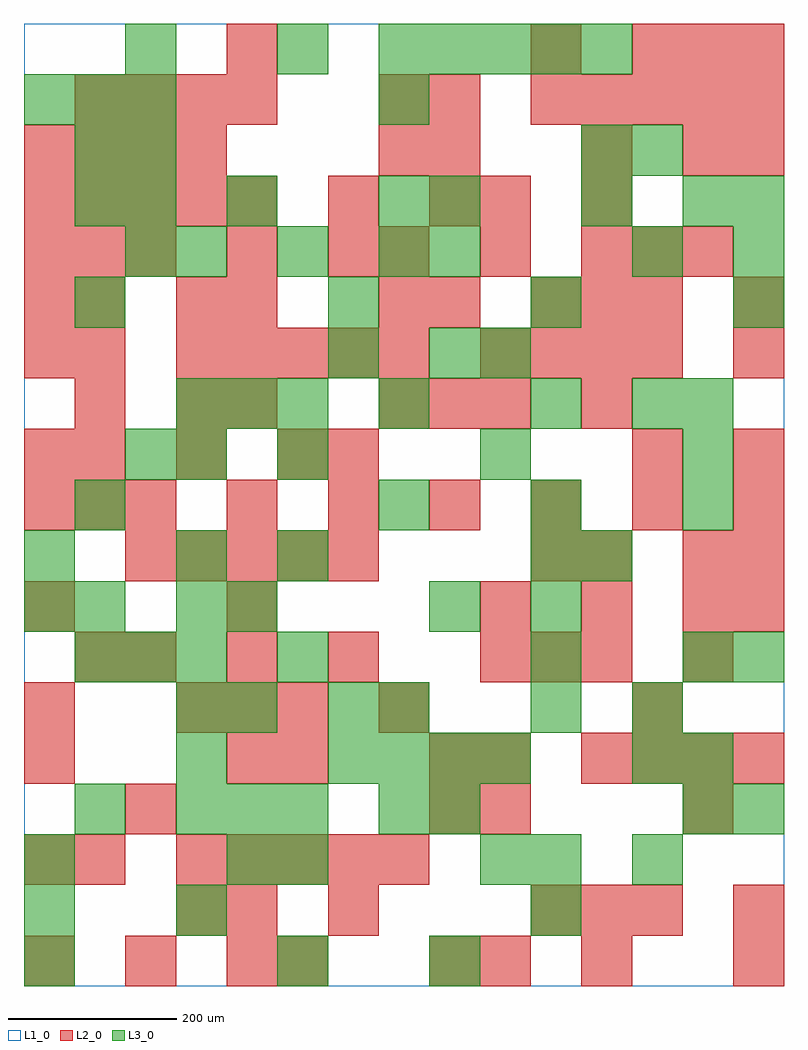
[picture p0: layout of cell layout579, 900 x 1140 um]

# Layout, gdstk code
import gdstk
lib = gdstk.Library(unit=1e-6, precision=1e-09)
def R(c, l, rs):  # rectangles x0, y0, x1, y1
    for r in rs: c.add(gdstk.rectangle(r[:2], r[2:], *l))
def A(c, l, x, y, w, h, nx, ny, dx, dy):  # array of equal rectangles
    R(c, l, [(x+i*dx, y+j*dy, x+i*dx+w, y+j*dy+h) for i in range(nx) for j in range(ny)])
L1_0 = (1, 0)
L2_0 = (2, 0)
L3_0 = (3, 0)

layout579 = lib.new_cell('layout579')
R(layout579, L1_0, [(0,0,900,1140)])
A(layout579, L2_0, 0, 0, 60, 60, 3, 1, 120, 0)
A(layout579, L2_0, 240, 60, 60, 60, 1, 3, 0, 180)
A(layout579, L2_0, 600, 60, 60, 60, 3, 2, 60, 720)
A(layout579, L2_0, 180, 120, 60, 60, 5, 2, 60, 600)
A(layout579, L2_0, 660, 240, 60, 60, 4, 1, 60, 0)
A(layout579, L2_0, 180, 300, 60, 60, 3, 1, 60, 0)
A(layout579, L2_0, 120, 360, 60, 60, 3, 1, 120, 0)
A(layout579, L2_0, 540, 360, 60, 60, 3, 1, 60, 0)
A(layout579, L2_0, 540, 420, 60, 60, 3, 1, 120, 0)
A(layout579, L2_0, 120, 480, 60, 60, 5, 1, 60, 0)
A(layout579, L2_0, 840, 480, 60, 60, 1, 3, 0, 120)
A(layout579, L2_0, 0, 540, 60, 60, 3, 2, 60, 300)
A(layout579, L2_0, 240, 540, 60, 60, 6, 1, 120, 0)
A(layout579, L2_0, 60, 600, 60, 60, 3, 1, 120, 0)
A(layout579, L2_0, 60, 660, 60, 60, 1, 3, 0, 60)
A(layout579, L2_0, 420, 660, 60, 60, 3, 1, 60, 0)
A(layout579, L2_0, 540, 720, 60, 60, 4, 1, 60, 0)
A(layout579, L2_0, 420, 840, 60, 60, 3, 1, 120, 0)
A(layout579, L2_0, 0, 900, 60, 60, 5, 1, 60, 0)
A(layout579, L2_0, 480, 900, 60, 60, 1, 3, 0, 60)
A(layout579, L2_0, 0, 960, 60, 60, 4, 1, 60, 0)
A(layout579, L2_0, 60, 1020, 60, 60, 4, 1, 60, 0)
A(layout579, L2_0, 600, 1020, 60, 60, 5, 1, 60, 0)
A(layout579, L2_0, 720, 1080, 60, 60, 3, 1, 60, 0)
R(layout579, L2_0, [(300,0,360,60), (480,0,540,60), (540,0,600,60), (660,0,720,60), (840,0,900,60), (180,60,240,120), (360,60,420,120), (840,60,900,120), (0,120,60,180), (60,120,120,180), (120,180,180,240), (480,180,540,240), (540,180,600,240), (780,180,840,240), (0,240,60,300), (300,240,360,300), (480,240,540,300), (540,240,600,300), (0,300,60,360), (420,300,480,360), (720,300,780,360), (60,360,120,420), (780,360,840,420), (0,420,60,480), (840,420,900,480), (600,480,660,540), (660,480,720,540), (780,480,840,540), (0,600,60,660), (360,600,420,660), (720,600,780,660), (180,660,240,720), (240,660,300,720), (660,660,720,720), (0,720,60,780), (0,780,60,840), (180,780,240,840), (240,780,300,840), (420,780,480,840), (480,780,540,840), (840,780,900,840), (240,840,300,900), (360,840,420,900), (720,840,780,900), (780,840,840,900), (360,900,420,960), (540,900,600,960), (660,900,720,960), (420,960,480,1020), (660,960,720,1020), (780,960,840,1020), (840,960,900,1020), (420,1020,480,1080), (240,1080,300,1140), (600,1080,660,1140)])
A(layout579, L3_0, 0, 0, 60, 60, 1, 3, 0, 60)
A(layout579, L3_0, 180, 180, 60, 60, 3, 2, 60, 480)
A(layout579, L3_0, 360, 240, 60, 60, 4, 1, 60, 0)
A(layout579, L3_0, 600, 300, 60, 60, 1, 4, 0, 60)
A(layout579, L3_0, 60, 360, 60, 60, 3, 1, 60, 0)
A(layout579, L3_0, 420, 540, 60, 60, 3, 1, 180, 0)
A(layout579, L3_0, 300, 600, 60, 60, 3, 1, 240, 0)
A(layout579, L3_0, 360, 780, 60, 60, 3, 1, 240, 0)
A(layout579, L3_0, 120, 840, 60, 60, 1, 3, 0, 60)
A(layout579, L3_0, 180, 840, 60, 60, 3, 1, 120, 0)
A(layout579, L3_0, 0, 1020, 60, 60, 3, 1, 60, 0)
A(layout579, L3_0, 420, 1080, 60, 60, 5, 1, 60, 0)
R(layout579, L3_0, [(300,0,360,60), (480,0,540,60), (180,60,240,120), (600,60,660,120), (240,120,300,180), (300,120,360,180), (540,120,600,180), (600,120,660,180), (720,120,780,180), (60,180,120,240), (420,180,480,240), (480,180,540,240), (780,180,840,240), (840,180,900,240), (180,240,240,300), (720,240,780,300), (780,240,840,300), (180,300,240,360), (240,300,300,360), (360,300,420,360), (420,300,480,360), (720,300,780,360), (300,360,360,420), (780,360,840,420), (840,360,900,420), (0,420,60,480), (60,420,120,480), (180,420,240,480), (240,420,300,480), (480,420,540,480), (0,480,60,540), (180,480,240,540), (300,480,360,540), (660,480,720,540), (60,540,120,600), (120,600,180,660), (180,600,240,660), (420,660,480,720), (600,660,660,720), (720,660,780,720), (780,660,840,720), (360,720,420,780), (480,720,540,780), (540,720,600,780), (60,780,120,840), (480,840,540,900), (720,840,780,900), (840,840,900,900), (60,900,120,960), (240,900,300,960), (420,900,480,960), (480,900,540,960), (660,900,720,960), (780,900,840,960), (840,900,900,960), (60,960,120,1020), (660,960,720,1020), (720,960,780,1020), (420,1020,480,1080), (120,1080,180,1140), (300,1080,360,1140)])

lib.write_gds('layout579.gds')
